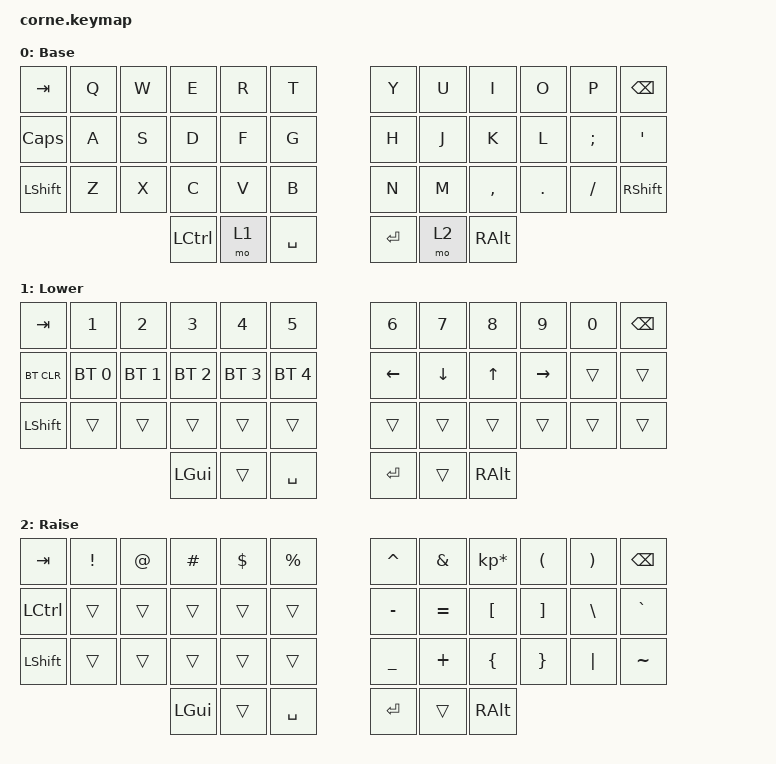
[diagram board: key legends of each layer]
/*
 * Copyright (c) 2020 The ZMK Contributors
 *
 * SPDX-License-Identifier: MIT
 */

#include <behaviors.dtsi>
#include <dt-bindings/zmk/bt.h>
#include <dt-bindings/zmk/keys.h>
#include <dt-bindings/zmk/outputs.h>

/ {
    combos {
        compatible = "zmk,combos";

        BluetoothToggle {
            bindings = <&out OUT_TOG>;
            key-positions = <37 40 35>;
        };

        PreferBluetooth {
            bindings = <&out OUT_BLE>;
            key-positions = <37 40 23>;
        };

        PreferUSB {
            bindings = <&out OUT_USB>;
            key-positions = <37 40 11>;
        };
    };

    keymap {
        compatible = "zmk,keymap";

        default_layer {
            // -----------------------------------------------------------------------------------------
            // |  TAB |  Q  |  W  |  E  |  R  |  T  |   |  Y  |  U   |  I  |  O  |  P  | BKSP |
            // | CTRL |  A  |  S  |  D  |  F  |  G  |   |  H  |  J   |  K  |  L  |  ;  |  '   |
            // | SHFT |  Z  |  X  |  C  |  V  |  B  |   |  N  |  M   |  ,  |  .  |  /  | ESC  |
            //                    | GUI | LWR | SPC |   | ENT | RSE  | ALT |

            display-name = "Base";
            bindings = <
&kp TAB       &kp Q  &kp W  &kp E      &kp R  &kp T        &kp Y    &kp U  &kp I      &kp O    &kp P     &kp BSPC
&kp CAPSLOCK  &kp A  &kp S  &kp D      &kp F  &kp G        &kp H    &kp J  &kp K      &kp L    &kp SEMI  &kp SQT
&kp LSHFT     &kp Z  &kp X  &kp C      &kp V  &kp B        &kp N    &kp M  &kp COMMA  &kp DOT  &kp FSLH  &kp RIGHT_SHIFT
                            &kp LCTRL  &mo 1  &kp SPACE    &kp RET  &mo 2  &kp RALT
            >;
        };

        lower_layer {
            // -----------------------------------------------------------------------------------------
            // |  TAB |  1  |  2  |  3  |  4  |  5  |   |  6  |  7  |  8  |  9  |  0  | BKSP |
            // | BTCLR| BT1 | BT2 | BT3 | BT4 | BT5 |   | LFT | DWN |  UP | RGT |     |      |
            // | SHFT |     |     |     |     |     |   |     |     |     |     |     |      |
            //                    | GUI |     | SPC |   | ENT |     | ALT |

            display-name = "Lower";
            bindings = <
&kp TAB     &kp N1        &kp N2        &kp N3        &kp N4        &kp N5          &kp N6    &kp N7    &kp N8    &kp N9     &kp N0  &kp BSPC
&bt BT_CLR  &bt BT_SEL 0  &bt BT_SEL 1  &bt BT_SEL 2  &bt BT_SEL 3  &bt BT_SEL 4    &kp LEFT  &kp DOWN  &kp UP    &kp RIGHT  &trans  &trans
&kp LSHFT   &trans        &trans        &trans        &trans        &trans          &trans    &trans    &trans    &trans     &trans  &trans
                                        &kp LGUI      &trans        &kp SPACE       &kp RET   &trans    &kp RALT
            >;
        };

        raise_layer {
            // -----------------------------------------------------------------------------------------
            // |  TAB |  !  |  @  |  #  |  $  |  %  |   |  ^  |  &  |  *  |  (  |  )  | BKSP |
            // | CTRL |     |     |     |     |     |   |  -  |  =  |  [  |  ]  |  \  |  `   |
            // | SHFT |     |     |     |     |     |   |  _  |  +  |  {  |  }  | "|" |  ~   |
            //                    | GUI |     | SPC |   | ENT |     | ALT |

            display-name = "Raise";
            bindings = <
&kp TAB    &kp EXCL  &kp AT  &kp HASH  &kp DLLR  &kp PRCNT    &kp CARET  &kp AMPS   &kp KP_MULTIPLY  &kp LPAR  &kp RPAR  &kp BSPC
&kp LCTRL  &trans    &trans  &trans    &trans    &trans       &kp MINUS  &kp EQUAL  &kp LBKT         &kp RBKT  &kp BSLH  &kp GRAVE
&kp LSHFT  &trans    &trans  &trans    &trans    &trans       &kp UNDER  &kp PLUS   &kp LBRC         &kp RBRC  &kp PIPE  &kp TILDE
                             &kp LGUI  &trans    &kp SPACE    &kp RET    &trans     &kp RALT
            >;
        };
    };
};
